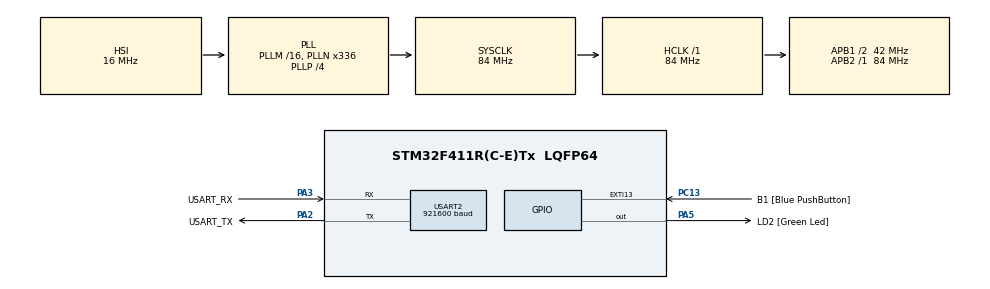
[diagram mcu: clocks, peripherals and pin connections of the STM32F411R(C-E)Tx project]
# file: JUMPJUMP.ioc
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Mcu.Family=STM32F4
Mcu.Name=STM32F411R(C-E)Tx
Mcu.Package=LQFP64
NVIC.PriorityGroup=NVIC_PRIORITYGROUP_0
NVIC.USART2_IRQn=true\:0\:0\:false\:false\:true\:true\:true
PA13.GPIO_Label=TMS
PA13.Mode=Serial_Wire
PA13.Signal=SYS_JTMS-SWDIO
PA14.GPIO_Label=TCK
PA14.Mode=Serial_Wire
PA14.Signal=SYS_JTCK-SWCLK
PA2.GPIO_Label=USART_TX
PA2.Mode=Asynchronous
PA2.Signal=USART2_TX
PA3.GPIO_Label=USART_RX
PA3.Mode=Asynchronous
PA3.Signal=USART2_RX
PA5.GPIO_Label=LD2 [Green Led]
PA5.Signal=GPIO_Output
PB3.GPIO_Label=SWO
PB3.Signal=SYS_JTDO-SWO
PC13-ANTI_TAMP.GPIO_Label=B1 [Blue PushButton]
PC13-ANTI_TAMP.GPIO_ModeDefaultEXTI=GPIO_MODE_IT_FALLING
PC13-ANTI_TAMP.Signal=GPXTI13
PC14-OSC32_IN.Mode=LSE-External-Oscillator
PC14-OSC32_IN.Signal=RCC_OSC32_IN
PC15-OSC32_OUT.Mode=LSE-External-Oscillator
PC15-OSC32_OUT.Signal=RCC_OSC32_OUT
PH0\ -\ OSC_IN.Mode=HSE-External-Clock-Source
PH0\ -\ OSC_IN.Signal=RCC_OSC_IN
PH1\ -\ OSC_OUT.Mode=HSE-External-Clock-Source
PH1\ -\ OSC_OUT.Signal=RCC_OSC_OUT
ProjectManager.HeapSize=0x200
ProjectManager.StackSize=0x400
ProjectManager.TargetToolchain=STM32CubeIDE
RCC.48MHZClocksFreq_Value=84000000
RCC.AHBFreq_Value=84000000
RCC.APB1CLKDivider=RCC_HCLK_DIV2
RCC.APB1Freq_Value=42000000
RCC.APB1TimFreq_Value=84000000
RCC.APB2Freq_Value=84000000
RCC.APB2TimFreq_Value=84000000
RCC.CortexFreq_Value=84000000
RCC.FLatency-AdvancedSettings=FLASH_LATENCY_2
RCC.HCLKFreq_Value=84000000
RCC.HSE_VALUE=8000000
RCC.HSI_VALUE=16000000
RCC.PLLN=336
RCC.PLLP=RCC_PLLP_DIV4
RCC.SYSCLKFreq_VALUE=84000000
RCC.SYSCLKSource=RCC_SYSCLKSOURCE_PLLCLK
RCC.VCOOutputFreq_Value=336000000
USART2.BaudRate=921600
USART2.VirtualMode=VM_ASYNC
board=NUCLEO-F411RE

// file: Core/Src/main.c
/* USER CODE BEGIN Header */
/**
  ******************************************************************************
  * @file           : main.c
  * @brief          : Main program body
  ******************************************************************************
  * @attention
  *
  * <h2><center>&copy; Copyright (c) 2020 STMicroelectronics.
  * All rights reserved.</center></h2>
  *
  * This software component is licensed by ST under BSD 3-Clause license,
  * the "License"; You may not use this file except in compliance with the
  * License. You may obtain a copy of the License at:
  *                        opensource.org/licenses/BSD-3-Clause
  *
  ******************************************************************************
  */
/* USER CODE END Header */

#include "main.h"

UART_HandleTypeDef huart2;

void SystemClock_Config(void);
static void MX_GPIO_Init(void);
static void MX_USART2_UART_Init(void);

/* USER CODE BEGIN 0 */

int game_state = 0; // 0 = start_scene, 1 = playing, 2 = dead_scene
int obs_row_begin = 20; int obs_col_begin = 70;
int plyr_row_begin = 16; int plyr_col_begin = 6;

int obs_row = 20; int obs_col = 70;
int plyr_row = 16; int plyr_col = 6;

int is_jumping = 0;
int jump_height = 10;
int max_jump_height = 0; // set in init frame function
int going_up = 1;

int score = 0;

int is_plyr_green = 1;
uint8_t _clear_screen[4] = "\033[2J";
uint8_t _player_yellow[88] =  "\033[1;33m"
					   " xxxx \n\033[6D"
					   " xxxx \n\033[6D"
					   "  xx  \n\033[6D"
					   "xxxxxx\n\033[6D"
					   "  xx  \n\033[6D"
					   " x  x \n\033[6D"
					   " x  x \n\033[6D"
					   "\033[0m";
uint8_t _player_jump_yellow[88] =  "\033[1;33m"
					   " xxxx \n\033[6D"
					   " xxxx \n\033[6D"
					   "x xx x\n\033[6D"
					   " xxxx \n\033[6D"
					   "  xx  \n\033[6D"
					   " x  x \n\033[6D"
					   "x    x\n\033[6D"
					   "\033[0m";
uint8_t _player_green[88] =  "\033[1;32m"
					   " xxxx \n\033[6D"
					   " xxxx \n\033[6D"
					   "  xx  \n\033[6D"
					   "xxxxxx\n\033[6D"
					   "  xx  \n\033[6D"
					   " x  x \n\033[6D"
					   " x  x \n\033[6D"
					   "\033[0m";
uint8_t _player_jump_green[88] =  "\033[1;32m"
					   " xxxx \n\033[6D"
					   " xxxx \n\033[6D"
					   "x xx x\n\033[6D"
					   " xxxx \n\033[6D"
					   "  xx  \n\033[6D"
					   " x  x \n\033[6D"
					   "x    x\n\033[6D"
					   "\033[0m";
uint8_t _player_remove[77] = "      \n\033[6D"
							 "      \n\033[6D"
							 "      \n\033[6D"
							 "      \n\033[6D"
							 "      \n\033[6D"
							 "      \n\033[6D"
							 "      \n\033[6D";
uint8_t _obs[41] =  "\033[1;31m"
					"  +  \n\033[5D"
				    " +++ \n\033[5D"
				    "+++++\n\033[5D"
				    "\033[0m";
uint8_t _obs_remove[30] =  "     \n\033[5D"
						   "     \n\033[5D"
			 	  	       "     \n\033[5D";
uint8_t _floor[320] = "################################################################################\n\033[80D"
					  "################################################################################\n\033[80D"
					  "################################################################################";
uint8_t _end_scene[100] = "\n\033[1;31mYOU ARE DEAD !\n\033[0m\033[22D"
						 "\nPress ENTER to play again...";
uint8_t _start_scene[100] = "\033[1;32mWelcome to JUMPJUMP !!\n\033[0m\033[22D"
							"\nPress ENTER to play.";
uint8_t _red_jumpjump[50] = "\033[31mJUMPJUMP\033[0m";
uint8_t _green_jumpjump[50] = "\033[32mJUMPJUMP\033[0m";
uint8_t _warning[100] = "Hit SPACE BAR to jump\n\033[21D"
						"Press P to pause";
uint8_t _set_size[10] = "\033[8;25;80t";
uint8_t _pause_message[100] = "\033[1;37mPAUSE\033[0m";
uint8_t _pause_message_remove[100] = "     ";

uint8_t temp[50] = ""; // used at disp dead scene
uint8_t temp2; // used at disp start scene
uint8_t temp3[50] = "";
int temp_count = 0; // used at disp start scene

uint8_t keyboardInput;

// used in main
int obs_rate_begin = 50000;
int plyr_rate_begin = 40000;
int obs_rate_limit = 20000;

int plyr_frame = 0;
int obs_frame = 0;
int obs_rate = 0;
int plyr_rate = 0;
int has_init_frame = 0;
int has_show_end_scene = 0;
int has_show_start_scene = 0;

void set_cur_to(int row, int col){
	uint8_t buffer[8] = "";
	sprintf(buffer, "\033[%d;%dH", row, col);
	HAL_UART_Transmit(&huart2, buffer, sizeof(buffer), HAL_MAX_DELAY);
}

// set screen size to 80x25
void set_size(){
	 HAL_UART_Transmit(&huart2, _set_size, sizeof(_set_size), HAL_MAX_DELAY);
}

void clear_screen(){
	HAL_UART_Transmit(&huart2, _clear_screen, 4, HAL_MAX_DELAY);
}

void draw_floor(){
	set_cur_to(23, 0);
	HAL_UART_Transmit(&huart2, _floor, sizeof(_floor), HAL_MAX_DELAY);
}

void remove_obs(){
	set_cur_to(obs_row, obs_col);
	HAL_UART_Transmit(&huart2, _obs_remove, sizeof(_obs_remove), HAL_MAX_DELAY);
}

void remove_plyr(){
	set_cur_to(plyr_row, plyr_col);
	HAL_UART_Transmit(&huart2, _player_remove, sizeof(_player_remove), HAL_MAX_DELAY);
}

void draw_score(){
	set_cur_to(2, 70);
	uint8_t buffer[10] = "";
	sprintf(buffer, "%d", score);
	HAL_UART_Transmit(&huart2, buffer, sizeof(buffer), HAL_MAX_DELAY);
}

void draw_score_at(int row, int col){
	set_cur_to(row, col);
	uint8_t buffer[10] = "";
	sprintf(buffer, "%d", score);
	HAL_UART_Transmit(&huart2, buffer, sizeof(buffer), HAL_MAX_DELAY);
}

void draw_player(){
	set_cur_to(plyr_row, plyr_col);
	if(is_plyr_green){
		HAL_UART_Transmit(&huart2, _player_green, sizeof(_player_green), HAL_MAX_DELAY);
	}else{
		HAL_UART_Transmit(&huart2, _player_yellow, sizeof(_player_yellow), HAL_MAX_DELAY);
	}
}

void draw_player_jump(){
	set_cur_to(plyr_row, plyr_col);
	if(is_plyr_green){
		HAL_UART_Transmit(&huart2, _player_jump_green, sizeof(_player_jump_green), HAL_MAX_DELAY);
	}else{
		HAL_UART_Transmit(&huart2, _player_jump_yellow, sizeof(_player_jump_yellow), HAL_MAX_DELAY);
	}
}

void draw_obs(){
	set_cur_to(obs_row, obs_col);
	HAL_UART_Transmit(&huart2, _obs, sizeof(_obs), HAL_MAX_DELAY);
}

void update_player(){
	remove_plyr();
	if(is_jumping){
		 if(going_up){
			 plyr_row--;
			 if(plyr_row <= max_jump_height) going_up = 0;
		 }
		 // going down
		 else{
			 plyr_row++;
			 if(plyr_row >= plyr_row_begin) {is_jumping = 0; going_up = 1;} // set going up for next jump
		 }
		 draw_player_jump();
	}else{
		draw_player();
	}
}

void update_obs(){
	// remove --> update position --> draw again
	remove_obs();
	obs_col--;
	if(obs_col < 0) obs_col = obs_col_begin;
	draw_obs();
}

void update_score(){
	score++;
	draw_score();
}

void update_frame(){
	update_obs();
	update_player();
	update_score();
}

void init_frame(){
	 plyr_row = plyr_row_begin; plyr_col = plyr_col_begin;
	 obs_row = obs_row_begin; obs_col = obs_col_begin;

	 max_jump_height = plyr_row_begin - jump_height;
	 going_up = 1;
	 is_jumping = 0;
	 obs_frame = 0; obs_rate = obs_rate_begin;
	 plyr_frame = 0; plyr_rate = plyr_rate_begin;

	 score = 0;

	 set_size();

	 clear_screen();
	 draw_player(); draw_obs(); draw_floor(); draw_score();
}

void jump(){
	if(!is_jumping) is_jumping = 1; // true
}

// returns 1 if player is colliding with obstacle, 0 otherwise
int collide(){
	if( (obs_row+2 >= plyr_row && obs_row+2 <= plyr_row+6) && (obs_col+3 >= plyr_col && obs_col+3 <= plyr_col+5) ){
		return 1;
	}
	if( (obs_row+2 >= plyr_row && obs_row+2 <= plyr_row+6) && (obs_col+1 <= plyr_col+5 && obs_col+1 >= plyr_col) ){
		return 1;
	}
	if( (obs_row+1 <= plyr_row+6 && obs_row+1 >= plyr_row) && (obs_col+3 >= plyr_col && obs_col+3 <= plyr_col+5) ){
		return 1;
	}
	if( (obs_row+1 <= plyr_row+6 && obs_row+1 >= plyr_row) && (obs_col+1 <= plyr_col+5 && obs_col+1 >= plyr_col) ){
		return 1;
	}

	return 0;
}

void disp_dead_scene(){
	clear_screen();

	// display score
	set_cur_to(10,33);
	sprintf(temp, "\033[1;34m SCORE : %d\033[0m", score);
	HAL_UART_Transmit(&huart2, temp, sizeof(temp), HAL_MAX_DELAY);

	// prompt use to press enter
	set_cur_to(11, 33);
	HAL_UART_Transmit(&huart2, _end_scene, sizeof(_end_scene), HAL_MAX_DELAY);

	keyboardInput = 0;
	while(keyboardInput != 13){
//		HAL_UART_Receive(&huart2, &keyboardInput, sizeof(keyboardInput), 10);
	}
}

void disp_start_scene(){
	clear_screen();

	set_cur_to(11, 30);
	HAL_UART_Transmit(&huart2, _start_scene, sizeof(_start_scene), HAL_MAX_DELAY);

	set_cur_to(23, 1);
	HAL_UART_Transmit(&huart2, _warning, sizeof(_warning), HAL_MAX_DELAY);

	// for blinking "JUMPJUMP"
	// keeps promting user to press enter
	keyboardInput = 0;
	while(keyboardInput != 13){
//		HAL_UART_Receive(&huart2, &keyboardInput, sizeof(keyboardInput), 10);
		temp_count++;
		if(temp_count == 4000){
			set_cur_to(11, 41);
			HAL_UART_Transmit(&huart2, _red_jumpjump, sizeof(_red_jumpjump), HAL_MAX_DELAY);
		}else if(temp_count == 5000){
			set_cur_to(11, 41);
			HAL_UART_Transmit(&huart2, _green_jumpjump, sizeof(_green_jumpjump), HAL_MAX_DELAY);
			temp_count = 0;
		}
		set_cur_to(13, 50);
	}
	keyboardInput = 0;
}

// swapping between green and yellow
void change_color(){
	// if player color is green
	if(is_plyr_green){
		is_plyr_green = 0;
	}else{
		is_plyr_green = 1;
	}
}

void disp_pause(){
	set_cur_to(4, 35);
	HAL_UART_Transmit(&huart2, _pause_message, sizeof(_pause_message), HAL_MAX_DELAY);
}

void remove_pause(){
	set_cur_to(4, 35);
	HAL_UART_Transmit(&huart2, _pause_message_remove, sizeof(_pause_message_remove), HAL_MAX_DELAY);
}

void pause(){
	keyboardInput = 0;
	disp_pause();
	while(keyboardInput != 80 && keyboardInput != 112){}
	remove_pause();
}

/* USER CODE END 0 */

int main(void)
{

  /* MCU Configuration--------------------------------------------------------*/

  /* Reset of all peripherals, Initializes the Flash interface and the Systick. */
  HAL_Init();

  /* Configure the system clock */
  SystemClock_Config();

  /* Initialize all configured peripherals */
  MX_GPIO_Init();
  MX_USART2_UART_Init();
  /* USER CODE BEGIN 2 */
  __HAL_UART_ENABLE_IT(&huart2, UART_IT_RXNE);
  /* USER CODE END 2 */

  /* Infinite loop */
  /* USER CODE BEGIN WHILE */
  uint8_t buffer[10];

  while (1)
  {
	  switch(game_state){
	  case 0: // start scene
		  disp_start_scene();
		  init_frame();
		  game_state = 1;
		  break;
	  case 1: // playing
		  if(keyboardInput == 32){
			  jump(); // space bar
			  keyboardInput = 0;
		  }
		  if(keyboardInput == 80 || keyboardInput == 112){
			  pause();
			  keyboardInput = 0;
		  }
		  plyr_frame++;
		  obs_frame++;
		  if(plyr_frame == plyr_rate){ // update player
			  update_player();
			  update_score();
			  plyr_frame = 0;
		  }

		  if(obs_frame == obs_rate){ // update obstacle
			  update_obs();
			  // faster
			  if(obs_rate > obs_rate_limit && score != 0 && score%100 == 0){obs_rate-=8000; score++;}
			  obs_frame = 0;
			  if(collide()) game_state = 2;
		  }
		  break;
	  case 2: // dead
		  disp_dead_scene();
		  init_frame();
		  game_state = 1;
		  break;
	  }
    /* USER CODE END WHILE */

  }
}

void SystemClock_Config(void)
{
  RCC_OscInitTypeDef RCC_OscInitStruct = {0};
  RCC_ClkInitTypeDef RCC_ClkInitStruct = {0};

  /** Configure the main internal regulator output voltage
  */
  __HAL_RCC_PWR_CLK_ENABLE();
  __HAL_PWR_VOLTAGESCALING_CONFIG(PWR_REGULATOR_VOLTAGE_SCALE1);
  /** Initializes the CPU, AHB and APB busses clocks
  */
  RCC_OscInitStruct.OscillatorType = RCC_OSCILLATORTYPE_HSI;
  RCC_OscInitStruct.HSIState = RCC_HSI_ON;
  RCC_OscInitStruct.HSICalibrationValue = RCC_HSICALIBRATION_DEFAULT;
  RCC_OscInitStruct.PLL.PLLState = RCC_PLL_ON;
  RCC_OscInitStruct.PLL.PLLSource = RCC_PLLSOURCE_HSI;
  RCC_OscInitStruct.PLL.PLLM = 16;
  RCC_OscInitStruct.PLL.PLLN = 336;
  RCC_OscInitStruct.PLL.PLLP = RCC_PLLP_DIV4;
  RCC_OscInitStruct.PLL.PLLQ = 4;
  if (HAL_RCC_OscConfig(&RCC_OscInitStruct) != HAL_OK)
  {
    Error_Handler();
  }
  /** Initializes the CPU, AHB and APB busses clocks
  */
  RCC_ClkInitStruct.ClockType = RCC_CLOCKTYPE_HCLK|RCC_CLOCKTYPE_SYSCLK
                              |RCC_CLOCKTYPE_PCLK1|RCC_CLOCKTYPE_PCLK2;
  RCC_ClkInitStruct.SYSCLKSource = RCC_SYSCLKSOURCE_PLLCLK;
  RCC_ClkInitStruct.AHBCLKDivider = RCC_SYSCLK_DIV1;
  RCC_ClkInitStruct.APB1CLKDivider = RCC_HCLK_DIV2;
  RCC_ClkInitStruct.APB2CLKDivider = RCC_HCLK_DIV1;

  if (HAL_RCC_ClockConfig(&RCC_ClkInitStruct, FLASH_LATENCY_2) != HAL_OK)
  {
    Error_Handler();
  }
}

static void MX_USART2_UART_Init(void)
{

  huart2.Instance = USART2;
  huart2.Init.BaudRate = 921600;
  huart2.Init.WordLength = UART_WORDLENGTH_8B;
  huart2.Init.StopBits = UART_STOPBITS_1;
  huart2.Init.Parity = UART_PARITY_NONE;
  huart2.Init.Mode = UART_MODE_TX_RX;
  huart2.Init.HwFlowCtl = UART_HWCONTROL_NONE;
  huart2.Init.OverSampling = UART_OVERSAMPLING_16;
  if (HAL_UART_Init(&huart2) != HAL_OK)
  {
    Error_Handler();
  }

}

static void MX_GPIO_Init(void)
{
  GPIO_InitTypeDef GPIO_InitStruct = {0};

  /* GPIO Ports Clock Enable */
  __HAL_RCC_GPIOC_CLK_ENABLE();
  __HAL_RCC_GPIOH_CLK_ENABLE();
  __HAL_RCC_GPIOA_CLK_ENABLE();
  __HAL_RCC_GPIOB_CLK_ENABLE();

  /*Configure GPIO pin Output Level */
  HAL_GPIO_WritePin(LD2_GPIO_Port, LD2_Pin, GPIO_PIN_RESET);

  /*Configure GPIO pin : B1_Pin */
  GPIO_InitStruct.Pin = B1_Pin;
  GPIO_InitStruct.Mode = GPIO_MODE_IT_FALLING;
  GPIO_InitStruct.Pull = GPIO_NOPULL;
  HAL_GPIO_Init(B1_GPIO_Port, &GPIO_InitStruct);

  /*Configure GPIO pin : LD2_Pin */
  GPIO_InitStruct.Pin = LD2_Pin;
  GPIO_InitStruct.Mode = GPIO_MODE_OUTPUT_PP;
  GPIO_InitStruct.Pull = GPIO_NOPULL;
  GPIO_InitStruct.Speed = GPIO_SPEED_FREQ_LOW;
  HAL_GPIO_Init(LD2_GPIO_Port, &GPIO_InitStruct);

}

void Error_Handler(void)
{
}

/************************ (C) COPYRIGHT STMicroelectronics *****END OF FILE****/
